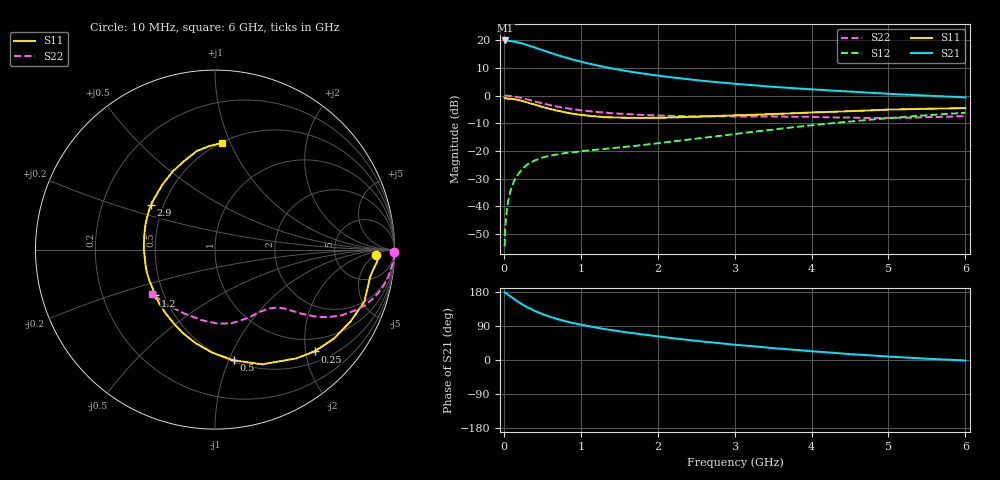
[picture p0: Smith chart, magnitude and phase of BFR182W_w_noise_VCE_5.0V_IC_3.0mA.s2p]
! Infineon Technologies  Discrete & RF Semiconductors
! BFR182W
! VCE =  5.0 V,  IC =  3.0 mA
! Common Emitter S-Parameters:  Jan 2017
# GHz  S  MA  R  50
!  f  S11  S21  S12  S22
! GHz  MAG  ANG  MAG  ANG  MAG  ANG  MAG  ANG
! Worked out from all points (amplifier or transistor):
!   77 points, 10 MHz to 6 GHz, reference 50 ohm
!   highest |S21| = 19.9 dB at 20 MHz (marker M1)
!   |S21| within 3 dB of that: start of sweep to 448.8 MHz
!   unconditionally stable (mu >= 1): 1.598 GHz to 3.023 GHz
!   at 130 MHz: K = 0.11, MSG = 25.3 dB, |S12| = -31.1 dB
!   at 2.2 GHz: K = 1.07, MAG = 10.0 dB, |S12| = -16.6 dB
!   at 6 GHz: K = 0.82, MSG = 2.8 dB, |S12| = -6.2 dB
!   lowest NFmin = 0.82 dB at 450 MHz
!   S11 on the Smith chart (normalised r, x): 10 MHz: 17, -5; 250 MHz: 0.71, -2.18; 500 MHz: 0.51, -1.04; 1.2 GHz: 0.45, -0.28; 2.9 GHz: 0.43, +0.26; 6 GHz: 0.51, +0.93
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0.01  0.8982 -2.0  9.845 178.5  0.0019 86.2  1 -0.9
0.02  0.9079 -3.8  9.914 177.3  0.0043 93.9  1 -2.0
0.07  0.8766 -13.4  9.714 170.1  0.0153 82.0  0.986 -6.3
0.15  0.8548 -28.1  9.342 158.6  0.0318 74.2  0.9537 -13.3
0.2  0.8265 -37.0  9.006 151.8  0.0404 70.6  0.9243 -17.0
0.25  0.7938 -45.6  8.655 145.4  0.0488 65.9  0.891 -20.4
0.3  0.7556 -53.4  8.218 139.7  0.0561 62.6  0.8538 -23.3
0.4  0.6913 -67.6  7.422 129.7  0.0672 56.8  0.7863 -28.0
0.5  0.6258 -80.4  6.633 121.3  0.0757 52.8  0.7243 -31.3
0.6  0.5736 -91.8  5.971 114.1  0.0823 49.8  0.6726 -33.7
0.7  0.5313 -102.0  5.377 107.8  0.0864 48.1  0.6298 -35.3
0.8  0.497 -111.5  4.895 102.4  0.0916 47.3  0.5954 -36.7
0.9  0.469 -119.9  4.464 97.5  0.0946 46.6  0.5669 -37.7
1.1  0.4325 -135.6  3.806 89.4  0.1019 46.6  0.5244 -39.5
1.2  0.4203 -142.6  3.541 85.6  0.105 47.1  0.5075 -40.3
1.6  0.3972 -166.2  2.769 72.9  0.1193 50.1  0.4639 -44.4
2.1  0.3994 171.1  2.209 60.0  0.143 54.5  0.4337 -51.5
2.9  0.4342 144.9  1.684 42.4  0.194 58.0  0.421 -65.9
3.1  0.4427 139.4  1.595 38.7  0.2098 58.0  0.4196 -69.6
4.1  0.5 116.4  1.273 21.7  0.2998 54.6  0.4089 -90.2
5.1  0.5616 99.0  1.061 7.9  0.401 46.1  0.3952 -118.9
6  0.5947 86.4  0.928 -1.3  0.4898 36.3  0.4269 -144.8
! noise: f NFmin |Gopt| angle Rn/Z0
0.45  0.82  0.39  31  0.2
0.9  0.95  0.3  57  0.2
1.9  1.6  0.25  149  0.12
2.4  1.92  0.23  170  0.17
